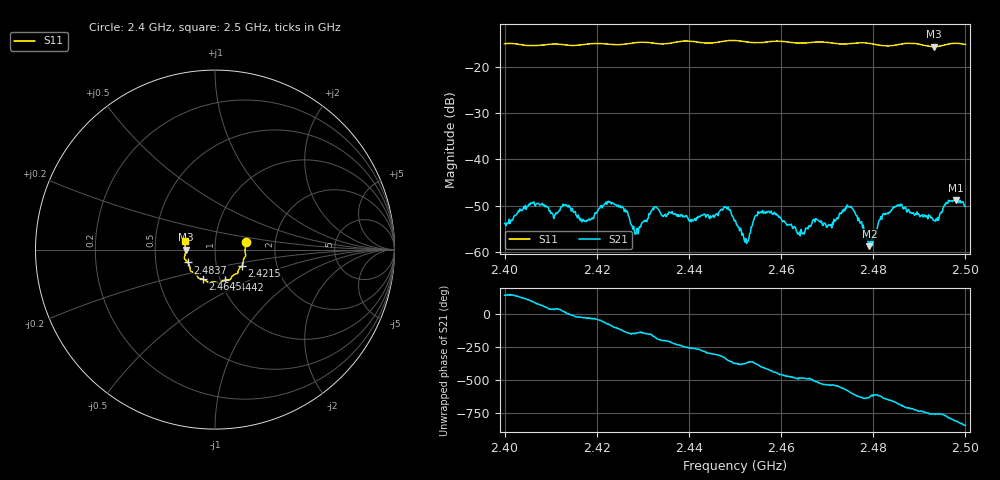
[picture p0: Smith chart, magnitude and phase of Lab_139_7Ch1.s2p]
# Hz S RI R 50
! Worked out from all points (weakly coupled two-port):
!   601 points, 2.4 GHz to 2.5 GHz, reference 50 ohm
!   highest |S21| = -48.75 dB at 2.498 GHz (marker M1); lowest = -58.7 dB at 2.4792 GHz (marker M2)
!   lowest |S11| = -15.7 dB at 2.4932 GHz (marker M3), VSWR 1.39, Z = 36 - j0.0607 ohm
!   |S11| at or under -10 dB: start of sweep to end of sweep
!   S12 and S22 are empty: the file has one direction only
!   S11 on the Smith chart (normalised r, x): 2.4 GHz: 1.41, +0.12; 2.4215 GHz: 1.33, -0.25; 2.4442 GHz: 1.05, -0.37; 2.4645 GHz: 0.83, -0.29; 2.4837 GHz: 0.73, -0.11; 2.5 GHz: 0.71, +0.07
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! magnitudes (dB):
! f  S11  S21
! 2.4 GHz  -15.1  -53.8
! 2.4058 GHz  -15.5  -49.3
! 2.4167 GHz  -15.3  -53.4
! 2.4215 GHz  -15.1  -49.9
! 2.426 GHz  -15.2  -51.2
! 2.4287 GHz  -14.8  -55.0
! 2.4333 GHz  -15.1  -50.7
! 2.4442 GHz  -15.0  -52.0
! 2.448 GHz  -14.5  -50.2
! 2.45 GHz  -14.4  -53.2
! 2.4525 GHz  -14.7  -58.1
! 2.4555 GHz  -14.9  -51.3
! 2.4645 GHz  -15.0  -55.9
! 2.4667 GHz  -14.8  -53.9
! 2.4705 GHz  -14.9  -54.2
! 2.4748 GHz  -15.1  -50.3
! 2.4792 GHz  -15.0  -58.7
! 2.4833 GHz  -15.6  -51.7
! 2.4837 GHz  -15.5  -51.4
! 2.4932 GHz  -15.7  -53.1
! 2.498 GHz  -15.0  -48.7
! 2.5 GHz  -15.2  -50.2
